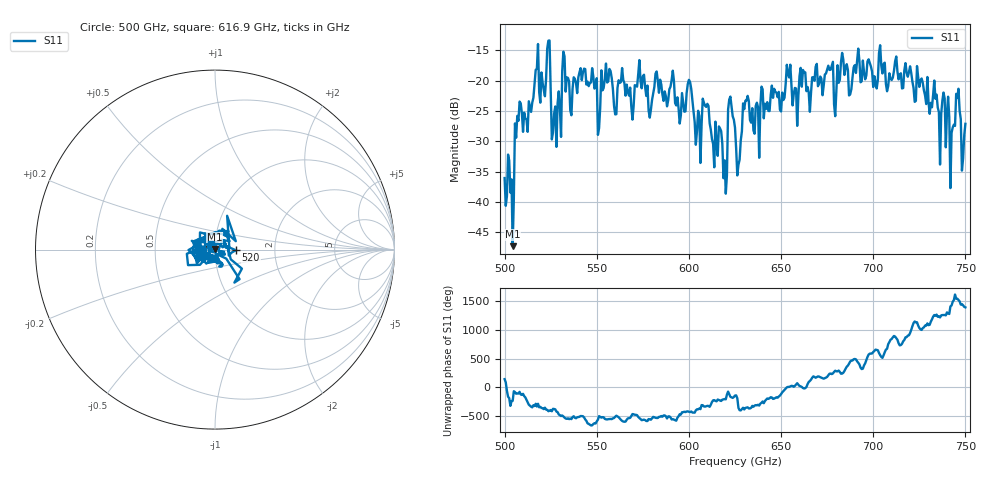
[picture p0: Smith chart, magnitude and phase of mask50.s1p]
!Created with skrf (http://scikit-rf.org).
# GHz S MA R 50.0
!freq magS11 angS11
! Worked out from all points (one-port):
!   401 points, 500 GHz to 750 GHz, reference 50 ohm
!   lowest |S11| = -47.3 dB at 504.4 GHz (marker M1), VSWR 1.01, Z = 49.8 + j0.37 ohm
!   |S11| at or under -10 dB: start of sweep to end of sweep
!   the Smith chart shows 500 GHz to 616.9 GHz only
!   S11 on the Smith chart (normalised r, x): 500 GHz: 0.98, +0.02; 520 GHz: 1.26, -0.01; 616.9 GHz: 0.95, +0.06
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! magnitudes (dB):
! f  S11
! 500 GHz  -36.0
! 504.4 GHz  -47.3
! 508.1 GHz  -23.4
! 520 GHz  -18.7
! 523.8 GHz  -13.4
! 526.9 GHz  -25.4
! 531.2 GHz  -18.5
! 542.5 GHz  -18.6
! 550.6 GHz  -28.9
! 562.5 GHz  -20.4
! 579.4 GHz  -24.8
! 590.6 GHz  -19.9
! 593.8 GHz  -22.7
! 600 GHz  -19.9
! 605 GHz  -25.0
! 608.8 GHz  -24.1
! 616.9 GHz  -27.9
! 619.4 GHz  -33.1
! 622.5 GHz  -22.6
! 625 GHz  -27.7
! 627.5 GHz  -33.0
! 630.6 GHz  -23.3
! 656.2 GHz  -24.1
! 687.5 GHz  -22.3
! 718.8 GHz  -19.4
! 743.1 GHz  -27.7
! 746.2 GHz  -21.3
! 750 GHz  -27.1
